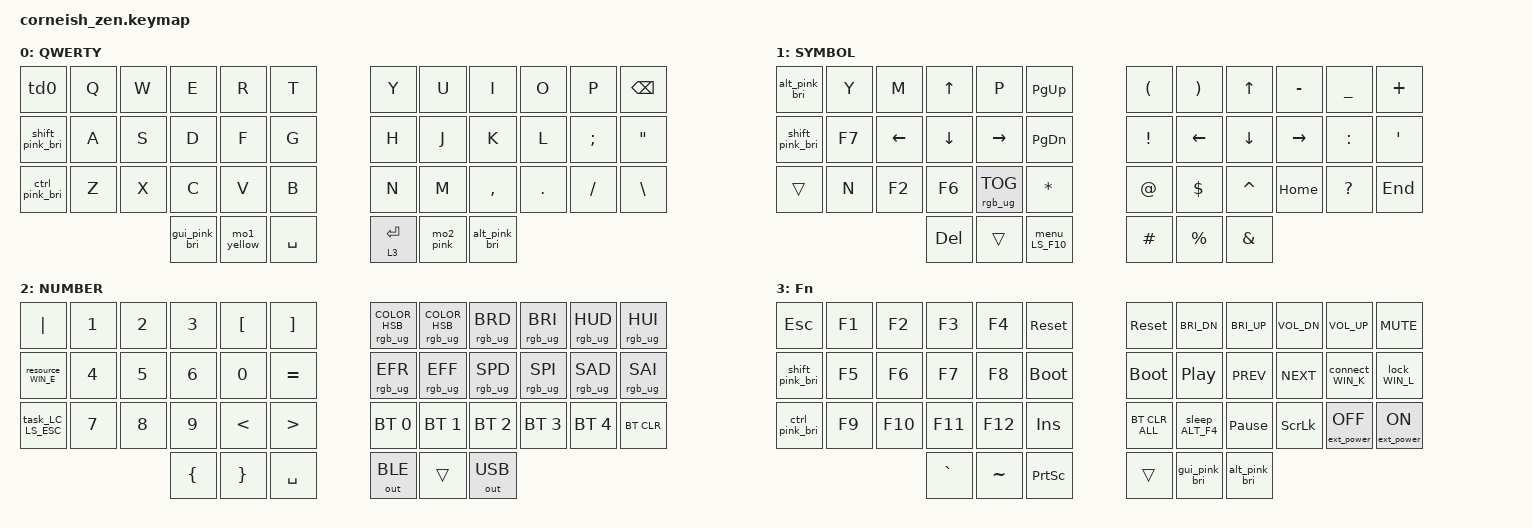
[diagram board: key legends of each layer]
/*
 * Copyright (c) 2020 The ZMK Contributors
 *
 * SPDX-License-Identifier: MIT
 */

#include <behaviors.dtsi>
#include <dt-bindings/zmk/bt.h>
#include <dt-bindings/zmk/ext_power.h>
#include <dt-bindings/zmk/keys.h>
#include <dt-bindings/zmk/outputs.h>
#include <dt-bindings/zmk/rgb.h>

/ {
    chosen {
        zmk,matrix_transform = &default_transform;

        // zmk,matrix_transform = &five_column_transform;
    };
};

//组合键定义
/ {
    macros {
        menu_LS_F10: menu_LS_F10 {
            compatible = "zmk,behavior-macro";
            #binding-cells = <0>;
            bindings
                = <&macro_press &kp LSHFT>
                , <&macro_tap &kp F10>
                , <&macro_release &kp LSHFT>
                ;
        };
        resource_WIN_E: resource_WIN_E {
            compatible = "zmk,behavior-macro";
            #binding-cells = <0>;
            bindings
                = <&macro_press &kp LGUI>
                , <&macro_tap &kp E>
                , <&macro_release &kp LGUI>
                ;
        };
        task_LC_LS_ESC: task_LC_LS_ESC {
            compatible = "zmk,behavior-macro";
            #binding-cells = <0>;
            bindings
                = <&macro_press &kp LCTRL &kp LSHIFT>
                , <&macro_tap &kp ESC>
                , <&macro_release &kp LCTRL &kp LSHIFT>
                ;
        };
        connect_WIN_K: connect_WIN_K {
            compatible = "zmk,behavior-macro";
            #binding-cells = <0>;
            bindings
                = <&macro_press &kp LGUI>
                , <&macro_tap &kp K>
                , <&macro_release &kp LGUI>
                ;
        };
        lock_WIN_L: lock_WIN_L {
            compatible = "zmk,behavior-macro";
            #binding-cells = <0>;
            bindings
                = <&macro_press &kp LGUI>
                , <&macro_tap &kp L>
                , <&macro_release &kp LGUI>
                ;
        };
        sleep_ALT_F4: sleep_ALT_F4 {
            compatible = "zmk,behavior-macro";
            #binding-cells = <0>;
            bindings
                = <&macro_press &kp LALT>
                , <&macro_tap &kp F4>
                , <&macro_release &kp LALT>
                ;
        };
//「
        macro_quotes_left: macro_quotes_left {
            compatible = "zmk,behavior-macro";
            label = " MQL";
            #binding-cells = <0>;
            bindings
                = <&macro_press &kp LSHFT>
                , <&macro_tap &kp U &kp N3 &kp N0 &kp N0 &kp C>
                , <&macro_release &kp LSHFT>
                ;
        };
//」
        macro_quotes_right: macro_quotes_right {
            compatible = "zmk,behavior-macro";
            label = " MQR";
            #binding-cells = <0>;
            bindings
                = <&macro_press &kp LSHFT>
                , <&macro_tap &kp U &kp N3 &kp N0 &kp N0 &kp D>
                , <&macro_release &kp LSHFT>
                ;
        };
    };
};

//背光变化
/ {
    macros {
        mo1_yellow: mo1_yellow {
            compatible = "zmk,behavior-macro";
            #binding-cells = <0>;
            bindings
                = <&macro_tap &rgb_ug RGB_COLOR_HSB(20,95,30)>
                , <&macro_press &mo 1>
                , <&macro_pause_for_release>
                , <&macro_release &mo 1>
//粉               , <&macro_tap &rgb_ug RGB_COLOR_HSB(335,75,10)>
                , <&macro_tap &rgb_ug RGB_COLOR_HSB(235,45,15)>
                ;
        };
/*
        mo2_green: mo2_green {
            compatible = "zmk,behavior-macro";
            #binding-cells = <0>;
            bindings
                = <&macro_tap &rgb_ug RGB_COLOR_HSB(55,65,20)>
                , <&macro_press &mo 2>
                , <&macro_pause_for_release>
                , <&macro_release &mo 2>
//粉                , <&macro_tap &rgb_ug RGB_COLOR_HSB(335,75,10)>
                , <&macro_tap &rgb_ug RGB_COLOR_HSB(235,45,15)>
                ;
        };
*/
        mo2_pink: mo2_pink {
            compatible = "zmk,behavior-macro";
            #binding-cells = <0>;
            bindings
                = <&macro_tap &rgb_ug RGB_COLOR_HSB(345,75,20)>
                , <&macro_press &mo 2>
                , <&macro_pause_for_release>
                , <&macro_release &mo 2>
//粉                , <&macro_tap &rgb_ug RGB_COLOR_HSB(335,75,10)>
                , <&macro_tap &rgb_ug RGB_COLOR_HSB(235,45,15)>
                ;
        };
        ctrl_pink_bri: ctrl_pink_bri {
            compatible = "zmk,behavior-macro";
            #binding-cells = <0>;
            bindings
                = <&macro_tap &rgb_ug RGB_COLOR_HSB(225,60,30)>
//粉                = <&macro_tap &rgb_ug RGB_COLOR_HSB(340,80,35)>
                , <&macro_press &kp LCTRL>
                , <&macro_pause_for_release>
                , <&macro_release &kp LCTRL>
//粉                , <&macro_tap &rgb_ug RGB_COLOR_HSB(335,75,10)>
                , <&macro_tap &rgb_ug RGB_COLOR_HSB(235,45,15)>
                ;
        };
        shift_pink_bri: shift_pink_bri {
            compatible = "zmk,behavior-macro";
            #binding-cells = <0>;
            bindings
                = <&macro_tap &rgb_ug RGB_COLOR_HSB(225,60,30)>
                , <&macro_press &kp LSHIFT>
                , <&macro_pause_for_release>
                , <&macro_release &kp LSHIFT>
                , <&macro_tap &rgb_ug RGB_COLOR_HSB(235,45,15)>
                ;
        };
        gui_pink_bri: gui_pink_bri {
            compatible = "zmk,behavior-macro";
            #binding-cells = <0>;
            bindings
                = <&macro_tap &rgb_ug RGB_COLOR_HSB(225,60,30)>
                , <&macro_press &kp LGUI>
                , <&macro_pause_for_release>
                , <&macro_release &kp LGUI>
                , <&macro_tap &rgb_ug RGB_COLOR_HSB(235,45,15)> 
                ;
        };
        alt_pink_bri: alt_pink_bri {
            compatible = "zmk,behavior-macro";
            #binding-cells = <0>;
            bindings
                = <&macro_tap &rgb_ug RGB_COLOR_HSB(225,60,30)>
                , <&macro_press &kp LALT>
                , <&macro_pause_for_release>
                , <&macro_release &kp LALT>
                , <&macro_tap &rgb_ug RGB_COLOR_HSB(235,45,15)>
                ;
        };
        caps_pink_bri: caps_pink_bri {
            compatible = "zmk,behavior-macro";
            #binding-cells = <0>;
            bindings
                = <&macro_tap &rgb_ug RGB_COLOR_HSB(225,60,30)>
                , <&macro_press &kp CAPS>
                , <&macro_pause_for_release>
                , <&macro_release &kp CAPS>
                , <&macro_tap &rgb_ug RGB_COLOR_HSB(235,45,15)>
                ;
        };
/*
        mo3_white: mo3_white {
            compatible = "zmk,behavior-macro";
            #binding-cells = <0>;
            bindings
                = <&macro_press &mo 3>
                , <&macro_tap &rgb_ug RGB_COLOR_HSB(55,0,20)>
                , <&macro_pause_for_release>
                , <&macro_release &mo 3>
                , <&macro_tap &rgb_ug RGB_COLOR_HSB(230,45,15)>
                ;
        };
*/
    };
};

/ {
    behaviors {
//单击tab双击CAPS
        td0: td0 {
            compatible = "zmk,behavior-tap-dance";
            label = "TD0";
            #binding-cells = <0>;
            bindings = <&kp TAB>, <&caps_pink_bri>;
        };
/*
        mo3white_enter: mo3white_enter {
            compatible = "zmk,behavior-hold-tap";
            #binding-cells = <0>;
            flavor = "hold-preferred";
            tapping-term-ms = <200>;
            bindings = <&mo3_white>, <&kp ENTER>;
        };
*/
    };
};

/ {
    keymap {
        compatible = "zmk,keymap";

        default_layer {
            display-name = "QWERTY";

            // --------------------------------------------------------------------------------
            // |  TAB |  Q  |  W  |  E  |  R  |  T  |   |  Y  |  U   |  I  |  O  |  P  | BKSP |
            // |  SHFT |  A  |  S  |  D  |  F  |  G  |   |  H  |  J   |  K  |  L  |  ;  |  "   | 
            // | CTRL |  Z  |  X  |  C  |  V  |  B  |   |  N  |  M   |  ,  |  .  |  /  |  \   |
            //                    | LAYER1 | SPC | WIN |   | L3+EBTER | LAYER2| RALT |

            bindings = <
&td0     &kp Q  &kp W  &kp E     &kp R  &kp T          &kp Y  &kp U  &kp I      &kp O    &kp P     &kp BSPC
&shift_pink_bri    &kp A  &kp S  &kp D     &kp F  &kp G          &kp H  &kp J  &kp K      &kp L    &kp SEMI  &kp DQT
&ctrl_pink_bri   &kp Z  &kp X  &kp C     &kp V  &kp B          &kp N  &kp M  &kp COMMA  &kp DOT  &kp FSLH  &kp BSLH
                        //&gui_pink_bri  &mo1_yellow  &kp SPACE      &lt 3 ENTER  &mo2_green   &alt_pink_bri
                        &gui_pink_bri  &mo1_yellow  &kp SPACE	     &lt 3 ENTER   &mo2_pink   &alt_pink_bri
            >;
        };

        lower_layer {
            display-name = "SYMBOL";

            // -----------------------------------------------------------------------------------------
            // |  TAB |  ~  |  !  |  @  |  #  |  $  |   |  (  |  )  |  ↑  |  -  |  _  |   +  |
            // | SHFT |  `  |  %  |  ^  |  &  |  *  |   |PGUP |  ←  |  ↓  |  →  |  :  |   '  |
            // | CTRL |  |  |  {  |  }  |RGB开|RGB关|   |PGDN |  <  |  >  |HOME |  ?  | END  |
            //               | GUI |     | 鼠标右键 |   |PRTSCR| DEL | RALT |


            // -----------------------------------------------------------------------------------------
            // |  ALT |  Y  |  M  |  ↑  |  P  |PGUP |   |  (  |  )  |  ↑  |  -  |  _  |   +  |
            // | SHFT |  F7 |  ←  |  ↓  |  →  |PGDN |   |  !  |  ←  |  ↓  |  →  |  :  |   '  |
            // | CTRL |  N | F2 | F6 |RGB TOG|  *  |   |  @  |  $  |  ^  |HOME |  ?  | END  |
            //               | DEL |     | 鼠标右键 |    |  #  |  %  |  &  |

            bindings = <
&alt_pink_bri     &kp Y   &kp M     &kp UP    &kp P            &kp PG_UP           &kp LPAR   &kp RPAR   &kp UP    &kp MINUS  &kp UNDER  &kp PLUS
&shift_pink_bri   &kp F7  &kp LEFT  &kp DOWN  &kp RIGHT        &kp PG_DN           &kp EXCL   &kp LEFT   &kp DOWN   &kp RIGHT  &kp COLON  &kp SQT
&trans            &kp N   &kp F2    &kp F6    &rgb_ug RGB_TOG  &kp STAR            &kp AT     &kp DLLR   &kp CARET  &kp HOME   &kp QMARK  &kp END
                             &kp DEL   &trans   &menu_LS_F10                       &kp HASH   &kp PRCNT  &kp AMPS

//&trans  &kp TILDE  &kp EXCL   &kp AT    &kp HASH   &kp DLLR              &kp LPAR   &kp RPAR   &kp UP    &kp MINUS  &kp UNDER  &kp PLUS
//&kp LSHIFT &kp GRAVE  &kp PRCNT  &kp CARET  &kp AMPS  &kp STAR              &kp PG_UP  &kp LEFT   &kp DOWN   &kp RIGHT  &kp COLON  &kp SQT
//&trans  &kp PIPE   &kp LBRC  &kp RBRC  &rgb_ug RGB_ON  &rgb_ug RGB_OFF   &kp PG_DN  &kp LT     &kp GT     &kp HOME   &kp QMARK  &kp END
                            // &trans  &trans   &menu_LS_F10        &kp PSCRN  &kp DEL  &trans
            >;
        };

        raise_layer {
            display-name = "NUMBER";

            // -----------------------------------------------------------------------------------------
            // |    |    |  1  |  2  |  3  |  [  |  ]   |      |RGB定1 |RGB定2 |RGB亮↓|RGB亮↑|RGB色↓|RGB色↑|
            // |资源管理器|  4  |  5  |  6  |  0  |  =   |     |RGB灯← | RGB灯→|RGB动↓|RGB动↑|RGB饱↓|RGB饱↑|
            // |任务管理器|  7  |  8  |  9  |  <  |  >   |     |蓝牙0  | 蓝牙1 |蓝牙2  |蓝牙3 |蓝牙4 |当前蓝牙清|
            //                    |  {  |  }    | SPACE |      |OUT_BLE|       |OUT_USB|

            bindings = <
&kp PIPE          &kp N1  &kp N2  &kp N3  &kp LBKT   &kp RBKT         &rgb_ug RGB_COLOR_HSB(230,45,15)  &rgb_ug RGB_COLOR_HSB(335,75,10)  &rgb_ug RGB_BRD  &rgb_ug RGB_BRI  &rgb_ug RGB_HUD  &rgb_ug RGB_HUI
&resource_WIN_E  &kp N4  &kp N5  &kp N6  &kp N0     &kp EQUAL         &rgb_ug RGB_EFR                  &rgb_ug RGB_EFF  &rgb_ug RGB_SPD  &rgb_ug RGB_SPI  &rgb_ug RGB_SAD  &rgb_ug RGB_SAI
&task_LC_LS_ESC  &kp N7  &kp N8  &kp N9  &kp LT     &kp GT            &bt BT_SEL 0                     &bt BT_SEL 1     &bt BT_SEL 2     &bt BT_SEL 3     &bt BT_SEL 4     &bt BT_CLR
                     &kp LBRC  &kp RBRC  &kp SPACE                      &out OUT_BLE                     &trans           &out OUT_USB
            >;
        };

        layer_3 {
            display-name = "Fn";

            // -----------------------------------------------------------------------------------------
            // | ESC  |  F1  |  F2  |  F3  |  F4  |SYS RESET |     |SYS RESET  |   亮度↓  | 亮度↑| 音量-       | 音量+       |   静音 |
            // |  「|  F5  |  F6  |  F7  |  F8  |BOOTLOADER|     |BOOTLOADER |  暂停    | 上一曲 | 下一曲| 连设备win+k |  锁定win+L |
            // | 」 |  F9  |  F10 |  F11 |  F12 |  INS    |      |蓝牙全清     |  睡眠   | PAUSE BREAK | SCRLK | 禁用外部电源 |启用外部电源|
            //                      |  `  |  ~   | 截图   |         |&trans| GUI |Alt|

            bindings = <
&kp ESC &kp F1  &kp F2   &kp F3   &kp F4   &sys_reset                  &sys_reset    &kp C_BRI_DN  &kp C_BRI_UP   &kp C_VOL_DN    &kp C_VOL_UP  &kp C_MUTE         
&shift_pink_bri  &kp F5  &kp F6   &kp F7   &kp F8   &bootloader        &bootloader   &kp C_PP      &kp C_PREV    &kp C_NEXT   &connect_WIN_K   &lock_WIN_L
&ctrl_pink_bri  &kp F9  &kp F10  &kp F11  &kp F12  &kp INS            &bt BT_CLR_ALL  &sleep_ALT_F4      &kp PAUSE_BREAK     &kp SLCK     &ext_power EP_OFF  &ext_power EP_ON
                 &kp GRAVE  &kp TILDE     &kp PSCRN                   &trans       &gui_pink_bri       &alt_pink_bri
            >;
        };
    };
};
